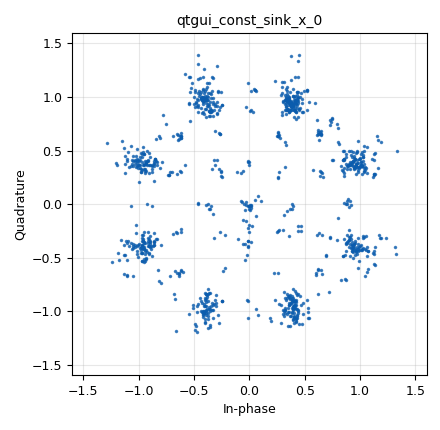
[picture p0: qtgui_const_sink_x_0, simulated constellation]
options:
  parameters:
    author: yewentai
    generate_options: qt_gui
    id: test
    output_language: python
    title: Not titled yet
  states: {}

blocks:
- name: encoder
  id: variable_constellation
  parameters:
    precision: '8'
    type: 8psk
  states: {}
- name: samp_rate
  id: variable
  parameters:
    value: '25000'
  states: {}
- name: analog_random_source_x_0
  id: analog_random_source_x
  parameters:
    max: '8'
    min: '0'
    num_samps: '1000'
    repeat: 'True'
    type: byte
  states: {}
- name: blocks_throttle2_0
  id: blocks_throttle2
  parameters:
    samples_per_second: samp_rate
    type: byte
  states: {}
- name: digital_constellation_modulator_0
  id: digital_constellation_modulator
  parameters:
    constellation: encoder
    differential: 'True'
    excess_bw: '0.35'
    samples_per_symbol: '2'
  states: {}
- name: qtgui_const_sink_x_0
  id: qtgui_const_sink_x
  parameters:
    autoscale: 'True'
    grid: 'True'
    size: '1024'
    type: complex
  states: {}
- name: root_raised_cosine_filter_0
  id: root_raised_cosine_filter
  parameters:
    alpha: '0.35'
    decim: '1'
    gain: '1'
    ntaps: '1'
    samp_rate: samp_rate
    sym_rate: '1'
    type: fir_filter_ccf
  states: {}

connections:
- [analog_random_source_x_0, '0', blocks_throttle2_0, '0']
- [blocks_throttle2_0, '0', digital_constellation_modulator_0, '0']
- [digital_constellation_modulator_0, '0', root_raised_cosine_filter_0, '0']
- [root_raised_cosine_filter_0, '0', qtgui_const_sink_x_0, '0']

metadata:
  file_format: 1
  grc_version: 3.10.9.2
